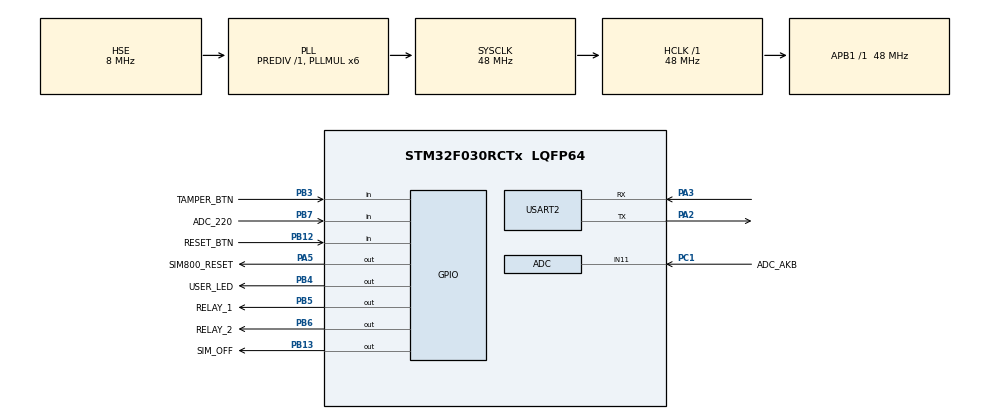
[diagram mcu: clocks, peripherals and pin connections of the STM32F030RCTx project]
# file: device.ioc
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ADC.ContinuousConvMode=ENABLE
ADC.DMAContinuousRequests=ENABLE
ADC.SamplingTime=ADC_SAMPLETIME_55CYCLES_5
Dma.ADC.0.Direction=DMA_PERIPH_TO_MEMORY
Dma.ADC.0.Instance=DMA1_Channel1
Dma.ADC.0.MemDataAlignment=DMA_MDATAALIGN_HALFWORD
Dma.ADC.0.MemInc=DMA_MINC_ENABLE
Dma.ADC.0.Mode=DMA_NORMAL
Dma.ADC.0.PeriphDataAlignment=DMA_PDATAALIGN_HALFWORD
Dma.ADC.0.PeriphInc=DMA_PINC_DISABLE
Dma.ADC.0.Priority=DMA_PRIORITY_LOW
Dma.Request0=ADC
Mcu.Family=STM32F0
Mcu.Name=STM32F030RCTx
Mcu.Package=LQFP64
NVIC.DMA1_Channel1_IRQn=true\:0\:0\:false\:false\:true\:false\:true\:true
NVIC.USART2_IRQn=true\:0\:0\:false\:false\:true\:true\:true\:true
PA13.Mode=Serial_Wire
PA13.Signal=SYS_SWDIO
PA14.Mode=Serial_Wire
PA14.Signal=SYS_SWCLK
PA2.Mode=Asynchronous
PA2.Signal=USART2_TX
PA3.Mode=Asynchronous
PA3.Signal=USART2_RX
PA5.GPIO_Label=SIM800_RESET
PA5.Signal=GPIO_Output
PB12.GPIO_Label=RESET_BTN
PB12.Signal=GPIO_Input
PB13.GPIO_Label=SIM_OFF
PB13.Signal=GPIO_Output
PB3.GPIO_Label=TAMPER_BTN
PB3.Signal=GPIO_Input
PB4.GPIO_Label=USER_LED
PB4.Signal=GPIO_Output
PB5.GPIO_Label=RELAY_1
PB5.Signal=GPIO_Output
PB6.GPIO_Label=RELAY_2
PB6.Signal=GPIO_Output
PB7.GPIO_Label=ADC_220
PB7.Signal=GPIO_Input
PC1.GPIO_Label=ADC_AKB
PC1.Mode=IN11
PC1.Signal=ADC_IN11
PF0-OSC_IN.Mode=HSE-External-Oscillator
PF0-OSC_IN.Signal=RCC_OSC_IN
PF1-OSC_OUT.Mode=HSE-External-Oscillator
PF1-OSC_OUT.Signal=RCC_OSC_OUT
ProjectManager.HeapSize=0x200
ProjectManager.StackSize=0x400
ProjectManager.TargetToolchain=CMake
RCC.AHBFreq_Value=48000000
RCC.APB1Freq_Value=48000000
RCC.APB1TimFreq_Value=48000000
RCC.HCLKFreq_Value=48000000
RCC.PLLMUL=RCC_PLL_MUL6
RCC.PLLSourceVirtual=RCC_PLLSOURCE_HSE
RCC.SYSCLKFreq_VALUE=48000000
RCC.SYSCLKSource=RCC_SYSCLKSOURCE_PLLCLK
USART2.VirtualMode-Asynchronous=VM_ASYNC
board=custom

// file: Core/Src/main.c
/* USER CODE BEGIN Header */
/**
  ******************************************************************************
  * @file           : main.c
  * @brief          : Main program body
  ******************************************************************************
  * @attention
  *
  * Copyright (c) 2025 STMicroelectronics.
  * All rights reserved.
  *
  * This software is licensed under terms that can be found in the LICENSE file
  * in the root directory of this software component.
  * If no LICENSE file comes with this software, it is provided AS-IS.
  *
  ******************************************************************************
  */
/* USER CODE END Header */
#include "main.h"

/* USER CODE BEGIN Includes */
#include "../../inc/adc.h"
#include "../../inc/device.h"
#include "circular_buffer.h"
#include "discrete_input.h"
#include "discrete_output.h"
#include "eeprom_in_flash.h"
#include "sim800.h"
/* USER CODE END Includes */

ADC_HandleTypeDef hadc;
DMA_HandleTypeDef hdma_adc;

/* USER CODE BEGIN PV */
// SEGGER RTT: workaround for large memory mcu`s
#ifdef DEBUG
SEGGER_RTT_CB _SEGGER_RTT;
char seggerRttUpBuffer[BUFFER_SIZE_UP];
char seggerRttDownBuffer[BUFFER_SIZE_DOWN];
#endif

uint8_t rxBuffer[SIM800_RX_BUFFER_SIZE];
uint8_t txBuffer[SIM800_TX_BUFFER_SIZE];

cbuf_handle_t cbuf_rx;
cbuf_handle_t cbuf_tx;

DiscreteInput_t* p220Sensor;
DiscreteInput_t* pButtonReset;
DiscreteInput_t* pTamper;

DiscreteOutput_t* pRelay_1;
DiscreteOutput_t* pRelay_2;
DiscreteOutput_t* pUserLed;

uint32_t timestamp;

/* USER CODE END PV */

void SystemClock_Config(void);
static void MX_GPIO_Init(void);
static void MX_DMA_Init(void);
static void MX_USART2_UART_Init(void);
static void MX_ADC_Init(void);

int main(void)
{

  /* USER CODE BEGIN 1 */
    uint32_t timestamp = 0;

  /* USER CODE END 1 */

  /* MCU Configuration--------------------------------------------------------*/

  /* Reset of all peripherals, Initializes the Flash interface and the Systick. */
  HAL_Init();

  /* Configure the system clock */
  SystemClock_Config();

  /* Initialize all configured peripherals */
  MX_GPIO_Init();
  MX_DMA_Init();
  MX_USART2_UART_Init();
  MX_ADC_Init();
  /* USER CODE BEGIN 2 */
    cbuf_tx = circular_buf_init(txBuffer, sizeof(txBuffer));
    cbuf_rx = circular_buf_init(rxBuffer, sizeof(rxBuffer));

    adc_create();
    sim800_create();
    device_create();

    EepromInFlash.init();
    // EepromInFlash.format();
    Adc.init();
    HAL_ADCEx_Calibration_Start(&hadc);
    Sim800.init();
    Device.init();

    p220Sensor =	discrete_input_init(DiscreteInputActiveLevel_HIGH, BUTTON_220_SENSOR_ID);
    pButtonReset = discrete_input_init(DiscreteInputActiveLevel_LOW, BUTTON_RESET_ID);
    pTamper = discrete_input_init(DiscreteInputActiveLevel_LOW,BUTTON_TAMPER_ID);

    pRelay_1 = discrete_output_init(DiscreteOutputActiveLevel_HIGH, RELAY_1_ID);
    pRelay_2 = discrete_output_init(DiscreteOutputActiveLevel_HIGH, RELAY_2_ID);
    pUserLed = discrete_output_init(DiscreteOutputActiveLevel_HIGH, USER_LED_ID);

  /* USER CODE END 2 */

  /* Infinite loop */
  /* USER CODE BEGIN WHILE */
  while (1)
  {
    // debug_printf("Hello, world\n");
    // HAL_Delay(1000);
    discrete_input_run(p220Sensor);
    discrete_input_run(pButtonReset);
    discrete_input_run(pTamper);
    discrete_output_run(pRelay_1);
    discrete_output_run(pRelay_2);
    discrete_output_run(pUserLed);
    Adc.run();
    Sim800.run();
    Device.run();
    if (HAL_GetTick() - timestamp > 5000) {
      timestamp = HAL_GetTick();
      // debug_printf("Battery voltage: %d mV\n", (int)(Adc.getVoltageBattery() * 1000));
      // debug_printf("Battery 220: %d mV\n", (int)(Adc.getVoltage220() * 1000));
    }
    /* USER CODE END WHILE */

  }
}

void SystemClock_Config(void)
{
  RCC_OscInitTypeDef RCC_OscInitStruct = {0};
  RCC_ClkInitTypeDef RCC_ClkInitStruct = {0};

  /** Initializes the RCC Oscillators according to the specified parameters
  * in the RCC_OscInitTypeDef structure.
  */
  RCC_OscInitStruct.OscillatorType = RCC_OSCILLATORTYPE_HSI14|RCC_OSCILLATORTYPE_HSE;
  RCC_OscInitStruct.HSEState = RCC_HSE_ON;
  RCC_OscInitStruct.HSI14State = RCC_HSI14_ON;
  RCC_OscInitStruct.HSI14CalibrationValue = 16;
  RCC_OscInitStruct.PLL.PLLState = RCC_PLL_ON;
  RCC_OscInitStruct.PLL.PLLSource = RCC_PLLSOURCE_HSE;
  RCC_OscInitStruct.PLL.PLLMUL = RCC_PLL_MUL6;
  RCC_OscInitStruct.PLL.PREDIV = RCC_PREDIV_DIV1;
  if (HAL_RCC_OscConfig(&RCC_OscInitStruct) != HAL_OK)
  {
    Error_Handler();
  }

  /** Initializes the CPU, AHB and APB buses clocks
  */
  RCC_ClkInitStruct.ClockType = RCC_CLOCKTYPE_HCLK|RCC_CLOCKTYPE_SYSCLK
                              |RCC_CLOCKTYPE_PCLK1;
  RCC_ClkInitStruct.SYSCLKSource = RCC_SYSCLKSOURCE_PLLCLK;
  RCC_ClkInitStruct.AHBCLKDivider = RCC_SYSCLK_DIV1;
  RCC_ClkInitStruct.APB1CLKDivider = RCC_HCLK_DIV1;

  if (HAL_RCC_ClockConfig(&RCC_ClkInitStruct, FLASH_LATENCY_1) != HAL_OK)
  {
    Error_Handler();
  }
}

static void MX_ADC_Init(void)
{

  ADC_ChannelConfTypeDef sConfig = {0};

  /** Configure the global features of the ADC (Clock, Resolution, Data Alignment and number of conversion)
  */
  hadc.Instance = ADC1;
  hadc.Init.ClockPrescaler = ADC_CLOCK_ASYNC_DIV1;
  hadc.Init.Resolution = ADC_RESOLUTION_12B;
  hadc.Init.DataAlign = ADC_DATAALIGN_RIGHT;
  hadc.Init.ScanConvMode = ADC_SCAN_DIRECTION_FORWARD;
  hadc.Init.EOCSelection = ADC_EOC_SINGLE_CONV;
  hadc.Init.LowPowerAutoWait = DISABLE;
  hadc.Init.LowPowerAutoPowerOff = DISABLE;
  hadc.Init.ContinuousConvMode = ENABLE;
  hadc.Init.DiscontinuousConvMode = DISABLE;
  hadc.Init.ExternalTrigConv = ADC_SOFTWARE_START;
  hadc.Init.ExternalTrigConvEdge = ADC_EXTERNALTRIGCONVEDGE_NONE;
  hadc.Init.DMAContinuousRequests = ENABLE;
  hadc.Init.Overrun = ADC_OVR_DATA_PRESERVED;
  if (HAL_ADC_Init(&hadc) != HAL_OK)
  {
    Error_Handler();
  }

  /** Configure for the selected ADC regular channel to be converted.
  */
  sConfig.Channel = ADC_CHANNEL_11;
  sConfig.Rank = ADC_RANK_CHANNEL_NUMBER;
  sConfig.SamplingTime = ADC_SAMPLETIME_55CYCLES_5;
  if (HAL_ADC_ConfigChannel(&hadc, &sConfig) != HAL_OK)
  {
    Error_Handler();
  }

}

static void MX_USART2_UART_Init(void)
{

  LL_USART_InitTypeDef USART_InitStruct = {0};

  LL_GPIO_InitTypeDef GPIO_InitStruct = {0};

  /* Peripheral clock enable */
  LL_APB1_GRP1_EnableClock(LL_APB1_GRP1_PERIPH_USART2);

  LL_AHB1_GRP1_EnableClock(LL_AHB1_GRP1_PERIPH_GPIOA);
  /**USART2 GPIO Configuration
  PA2   ------> USART2_TX
  PA3   ------> USART2_RX
  */
  GPIO_InitStruct.Pin = LL_GPIO_PIN_2;
  GPIO_InitStruct.Mode = LL_GPIO_MODE_ALTERNATE;
  GPIO_InitStruct.Speed = LL_GPIO_SPEED_FREQ_HIGH;
  GPIO_InitStruct.OutputType = LL_GPIO_OUTPUT_PUSHPULL;
  GPIO_InitStruct.Pull = LL_GPIO_PULL_NO;
  GPIO_InitStruct.Alternate = LL_GPIO_AF_1;
  LL_GPIO_Init(GPIOA, &GPIO_InitStruct);

  GPIO_InitStruct.Pin = LL_GPIO_PIN_3;
  GPIO_InitStruct.Mode = LL_GPIO_MODE_ALTERNATE;
  GPIO_InitStruct.Speed = LL_GPIO_SPEED_FREQ_HIGH;
  GPIO_InitStruct.OutputType = LL_GPIO_OUTPUT_PUSHPULL;
  GPIO_InitStruct.Pull = LL_GPIO_PULL_NO;
  GPIO_InitStruct.Alternate = LL_GPIO_AF_1;
  LL_GPIO_Init(GPIOA, &GPIO_InitStruct);

  /* USART2 interrupt Init */
  NVIC_SetPriority(USART2_IRQn, 0);
  NVIC_EnableIRQ(USART2_IRQn);

  USART_InitStruct.BaudRate = 115200;
  USART_InitStruct.DataWidth = LL_USART_DATAWIDTH_8B;
  USART_InitStruct.StopBits = LL_USART_STOPBITS_1;
  USART_InitStruct.Parity = LL_USART_PARITY_NONE;
  USART_InitStruct.TransferDirection = LL_USART_DIRECTION_TX_RX;
  USART_InitStruct.HardwareFlowControl = LL_USART_HWCONTROL_NONE;
  USART_InitStruct.OverSampling = LL_USART_OVERSAMPLING_16;
  LL_USART_Init(USART2, &USART_InitStruct);
  LL_USART_DisableIT_CTS(USART2);
  LL_USART_ConfigAsyncMode(USART2);
  LL_USART_Enable(USART2);

}

static void MX_DMA_Init(void)
{

  /* DMA controller clock enable */
  __HAL_RCC_DMA1_CLK_ENABLE();

  /* DMA interrupt init */
  /* DMA1_Channel1_IRQn interrupt configuration */
  HAL_NVIC_SetPriority(DMA1_Channel1_IRQn, 0, 0);
  HAL_NVIC_EnableIRQ(DMA1_Channel1_IRQn);

}

static void MX_GPIO_Init(void)
{
  GPIO_InitTypeDef GPIO_InitStruct = {0};

  /* GPIO Ports Clock Enable */
  __HAL_RCC_GPIOF_CLK_ENABLE();
  __HAL_RCC_GPIOC_CLK_ENABLE();
  __HAL_RCC_GPIOA_CLK_ENABLE();
  __HAL_RCC_GPIOB_CLK_ENABLE();

  /*Configure GPIO pin Output Level */
  HAL_GPIO_WritePin(SIM800_RESET_GPIO_Port, SIM800_RESET_Pin, GPIO_PIN_RESET);

  /*Configure GPIO pin Output Level */
  HAL_GPIO_WritePin(GPIOB, SIM_OFF_Pin|USER_LED_Pin|RELAY_1_Pin|RELAY_2_Pin, GPIO_PIN_RESET);

  /*Configure GPIO pin : SIM800_RESET_Pin */
  GPIO_InitStruct.Pin = SIM800_RESET_Pin;
  GPIO_InitStruct.Mode = GPIO_MODE_OUTPUT_PP;
  GPIO_InitStruct.Pull = GPIO_NOPULL;
  GPIO_InitStruct.Speed = GPIO_SPEED_FREQ_LOW;
  HAL_GPIO_Init(SIM800_RESET_GPIO_Port, &GPIO_InitStruct);

  /*Configure GPIO pins : RESET_BTN_Pin TAMPER_BTN_Pin ADC_220_Pin */
  GPIO_InitStruct.Pin = RESET_BTN_Pin|TAMPER_BTN_Pin|ADC_220_Pin;
  GPIO_InitStruct.Mode = GPIO_MODE_INPUT;
  GPIO_InitStruct.Pull = GPIO_NOPULL;
  HAL_GPIO_Init(GPIOB, &GPIO_InitStruct);

  /*Configure GPIO pins : SIM_OFF_Pin USER_LED_Pin RELAY_1_Pin RELAY_2_Pin */
  GPIO_InitStruct.Pin = SIM_OFF_Pin|USER_LED_Pin|RELAY_1_Pin|RELAY_2_Pin;
  GPIO_InitStruct.Mode = GPIO_MODE_OUTPUT_PP;
  GPIO_InitStruct.Pull = GPIO_NOPULL;
  GPIO_InitStruct.Speed = GPIO_SPEED_FREQ_LOW;
  HAL_GPIO_Init(GPIOB, &GPIO_InitStruct);

}

void Error_Handler(void)
{
  __disable_irq();
  while (1)
  {
  }
}
